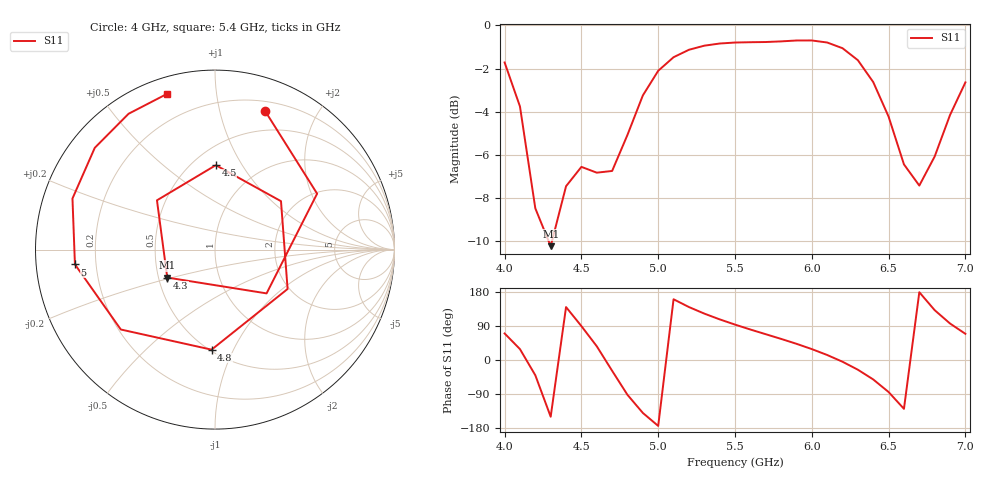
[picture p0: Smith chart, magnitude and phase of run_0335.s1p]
! Touchstone file exported from HFSS 2024.2.0
!  File:  C:/Users/wsak9/Desktop/Sim Fast/Widenad Patch/WP_AI_V1_sweep.aedt
!  Generated:  05:12:19 AM Oct 14, 2026
!  Design:  A1_model
!  Project:  WP_AI_V1_sweep
!  Setup:  Setup1
!  Solution:  Sweep
! Variables:
!  Air_gap = 3.55mm
!  Curve_Amp1 = 2.99
!  Curve_len1 = 1
!  Curve_pos = 12.625mm
!  Extra = 6.63mm
!  H_sub = 0.79mm
!  L_Patch = 21.25mm
!  L_Patch1 = 15.86mm
!  Sx = 0.24mm
!  Sy = 2.77mm
!  WS = 0.6mm
!  W_Patch = 15.9mm
!  W_Patch1 = 9.23mm
!Data is not renormalized
# GHz S MA
! Terminal data exported
! Port[1] = 1
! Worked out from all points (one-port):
!   31 points, 4 GHz to 7 GHz, reference per port
!   lowest |S11| = -10.2 dB at 4.3 GHz (marker M1), VSWR 1.89
!   |S11| at or under -10 dB: 4.287291 GHz to 4.308017 GHz (20.73 MHz wide, 0.482 % of centre)
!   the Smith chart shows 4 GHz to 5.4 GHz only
!   S11 on the Smith chart (normalised r, x): 4 GHz: 0.29, +1.39; 4.3 GHz: 0.56, -0.19; 4.5 GHz: 0.64, +0.78; 4.8 GHz: 0.51, -0.83; 5 GHz: 0.12, -0.05; 5.4 GHz: 0.07, +0.73
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4  0.8203 70.1
4.1  0.6488 28.7
4.2  0.377 -40.3
4.3  0.3082 -149.6
4.4  0.4242 139.7
4.5  0.4703 89.4
4.6  0.456 36.3
4.7  0.4602 -28.5
4.8  0.5578 -91.9
4.9  0.6881 -139.7
5  0.7847 -174.0
5.1  0.8436 160.3
5.2  0.8777 139.7
5.3  0.897 122.5
5.4  0.9074 107.3
5.5  0.9122 93.4
5.7  0.9147 68.1
5.9  0.9222 42.8
6.1  0.9123 13.2
6.2  0.885 -4.6
6.3  0.8302 -25.6
6.4  0.7389 -51.3
6.5  0.6146 -84.5
6.6  0.4766 -128.9
6.7  0.4257 178.9
6.8  0.497 131.5
6.9  0.62 96.3
7  0.7376 69.1
